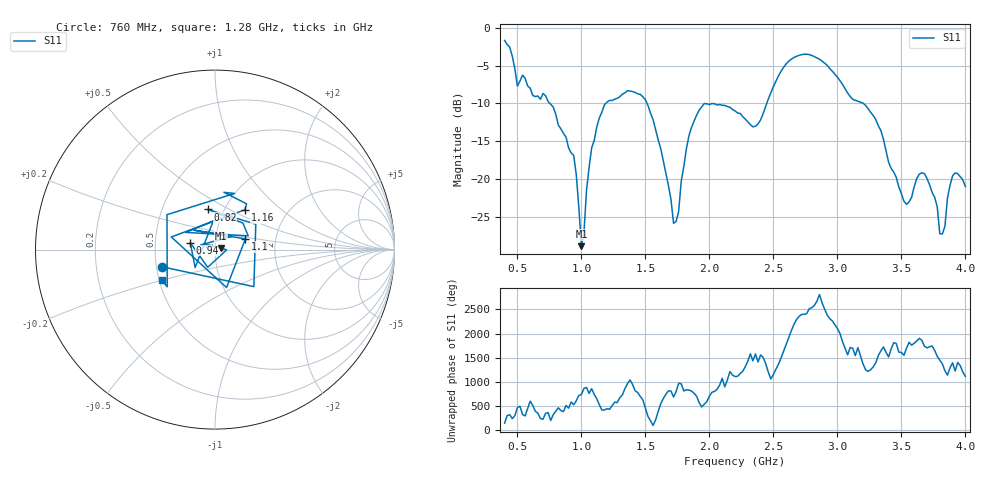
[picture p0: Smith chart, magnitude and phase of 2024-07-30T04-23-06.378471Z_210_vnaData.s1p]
!Created with skrf (http://scikit-rf.org).
# Hz S RI R 50.0
!freq ReS11 ImS11
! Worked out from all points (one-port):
!   181 points, 400 MHz to 4 GHz, reference 50 ohm
!   lowest |S11| = -28.9 dB at 1 GHz (marker M1), VSWR 1.07, Z = 53.6 + j0.874 ohm
!   |S11| at or under -10 dB: 754.3 MHz to 1.19 GHz (435.4 MHz wide, 44.8 % of centre); 1.513 GHz to 2.448 GHz (934.8 MHz wide, 47.2 % of centre); 3.203 GHz to end of sweep
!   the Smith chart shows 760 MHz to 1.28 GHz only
!   S11 on the Smith chart (normalised r, x): 760 MHz: 0.53, -0.11; 820 MHz: 0.84, +0.39; 940 MHz: 0.76, +0.06; 1.1 GHz: 1.40, +0.17; 1.16 GHz: 1.24, +0.60; 1.28 GHz: 0.52, -0.20
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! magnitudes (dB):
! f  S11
! 400 MHz  -1.7
! 500 MHz  -7.7
! 760 MHz  -10.1
! 820 MHz  -12.9
! 860 MHz  -14.0
! 940 MHz  -16.9
! 1 GHz  -28.9
! 1.1 GHz  -14.9
! 1.16 GHz  -11.1
! 1.28 GHz  -9.3
! 1.3 GHz  -9.1
! 1.5 GHz  -9.5
! 1.62 GHz  -16.0
! 1.72 GHz  -25.9
! 1.76 GHz  -24.3
! 1.84 GHz  -14.3
! 1.92 GHz  -10.9
! 2.2 GHz  -11.0
! 2.36 GHz  -13.0
! 2.66 GHz  -3.9
! 2.86 GHz  -4.1
! 3.1 GHz  -9.1
! 3.3 GHz  -12.1
! 3.56 GHz  -23.0
! 3.68 GHz  -19.3
! 3.82 GHz  -27.3
! 3.9 GHz  -19.6
! 4 GHz  -21.0
